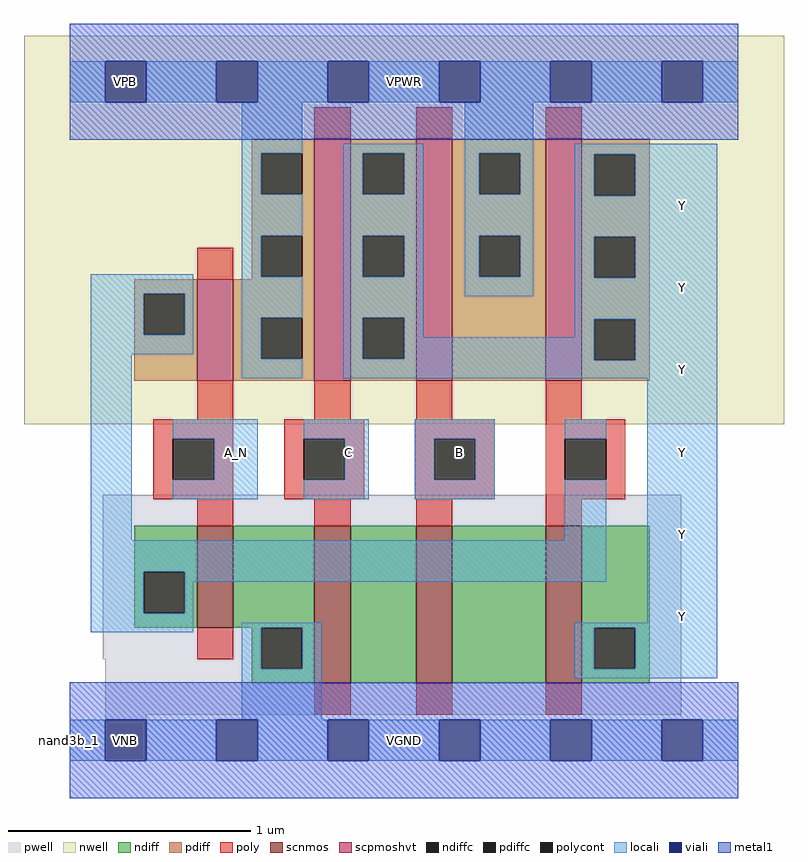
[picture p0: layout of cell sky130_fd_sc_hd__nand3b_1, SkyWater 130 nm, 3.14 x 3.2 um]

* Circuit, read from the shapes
.subckt sky130_fd_sc_hd__nand3b_1 A_N B C VGND VNB VPB VPWR Y
XM1 VGND A_N n1 VNB sky130_fd_pr__nfet_01v8 w=0.42 l=0.15
XM2 n2 C VGND VNB sky130_fd_pr__nfet_01v8 w=0.65 l=0.15
XM3 n3 B n2 VNB sky130_fd_pr__nfet_01v8 w=0.65 l=0.15
XM4 Y n1 n3 VNB sky130_fd_pr__nfet_01v8 w=0.65 l=0.15
XM5 VPWR A_N n1 VPB sky130_fd_pr__pfet_01v8_hvt w=0.42 l=0.15
XM6 Y C VPWR VPB sky130_fd_pr__pfet_01v8_hvt w=1 l=0.15
XM7 VPWR B Y VPB sky130_fd_pr__pfet_01v8_hvt w=1 l=0.15
XM8 Y n1 VPWR VPB sky130_fd_pr__pfet_01v8_hvt w=1 l=0.15
.ends

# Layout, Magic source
magic
tech sky130A
magscale 1 2
<< nwell >>
rect -38 261 590 582
<< pwell >>
rect 27 67 505 203
rect 29 21 505 67
rect 29 -17 63 21
<< scnmos >>
rect 105 93 135 177
rect 202 47 232 177
rect 286 47 316 177
rect 393 47 423 177
<< scpmoshvt >>
rect 105 297 135 381
rect 202 297 232 497
rect 286 297 316 497
rect 393 297 423 497
<< ndiff >>
rect 53 139 105 177
rect 53 105 61 139
rect 95 105 105 139
rect 53 93 105 105
rect 135 93 202 177
rect 150 59 158 93
rect 192 59 202 93
rect 150 47 202 59
rect 232 47 286 177
rect 316 47 393 177
rect 423 93 479 177
rect 423 59 433 93
rect 467 59 479 93
rect 423 47 479 59
<< pdiff >>
rect 150 485 202 497
rect 150 451 158 485
rect 192 451 202 485
rect 150 417 202 451
rect 150 383 158 417
rect 192 383 202 417
rect 150 381 202 383
rect 53 369 105 381
rect 53 335 61 369
rect 95 335 105 369
rect 53 297 105 335
rect 135 349 202 381
rect 135 315 158 349
rect 192 315 202 349
rect 135 297 202 315
rect 232 485 286 497
rect 232 451 242 485
rect 276 451 286 485
rect 232 417 286 451
rect 232 383 242 417
rect 276 383 286 417
rect 232 349 286 383
rect 232 315 242 349
rect 276 315 286 349
rect 232 297 286 315
rect 316 485 393 497
rect 316 451 338 485
rect 372 451 393 485
rect 316 417 393 451
rect 316 383 338 417
rect 372 383 393 417
rect 316 297 393 383
rect 423 484 479 497
rect 423 450 433 484
rect 467 450 479 484
rect 423 416 479 450
rect 423 382 433 416
rect 467 382 479 416
rect 423 348 479 382
rect 423 314 433 348
rect 467 314 479 348
rect 423 297 479 314
<< ndiffc >>
rect 61 105 95 139
rect 158 59 192 93
rect 433 59 467 93
<< pdiffc >>
rect 158 451 192 485
rect 158 383 192 417
rect 61 335 95 369
rect 158 315 192 349
rect 242 451 276 485
rect 242 383 276 417
rect 242 315 276 349
rect 338 451 372 485
rect 338 383 372 417
rect 433 450 467 484
rect 433 382 467 416
rect 433 314 467 348
<< poly >>
rect 202 497 232 523
rect 286 497 316 523
rect 393 497 423 523
rect 105 381 135 407
rect 105 265 135 297
rect 202 265 232 297
rect 286 265 316 297
rect 393 265 423 297
rect 69 249 135 265
rect 69 215 85 249
rect 119 215 135 249
rect 69 199 135 215
rect 177 249 243 265
rect 177 215 193 249
rect 227 215 243 249
rect 177 199 243 215
rect 285 249 351 265
rect 285 215 301 249
rect 335 215 351 249
rect 285 199 351 215
rect 393 249 459 265
rect 393 215 409 249
rect 443 215 459 249
rect 393 199 459 215
rect 105 177 135 199
rect 202 177 232 199
rect 286 177 316 199
rect 393 177 423 199
rect 105 67 135 93
rect 202 21 232 47
rect 286 21 316 47
rect 393 21 423 47
<< polycont >>
rect 85 215 119 249
rect 193 215 227 249
rect 301 215 335 249
rect 409 215 443 249
<< locali >>
rect 0 527 29 561
rect 63 527 121 561
rect 155 527 213 561
rect 247 527 305 561
rect 339 527 397 561
rect 431 527 489 561
rect 523 527 552 561
rect 142 485 192 527
rect 142 451 158 485
rect 142 417 192 451
rect 17 369 102 385
rect 17 335 61 369
rect 95 335 102 369
rect 17 319 102 335
rect 142 383 158 417
rect 142 349 192 383
rect 17 165 51 319
rect 142 315 158 349
rect 142 299 192 315
rect 226 485 292 493
rect 226 451 242 485
rect 276 451 292 485
rect 226 417 292 451
rect 226 383 242 417
rect 276 383 292 417
rect 226 349 292 383
rect 326 485 383 527
rect 326 451 338 485
rect 372 451 383 485
rect 326 417 383 451
rect 326 383 338 417
rect 372 383 383 417
rect 326 367 383 383
rect 417 484 535 493
rect 417 450 433 484
rect 467 450 535 484
rect 417 416 535 450
rect 417 382 433 416
rect 467 382 535 416
rect 226 315 242 349
rect 276 333 292 349
rect 417 348 535 382
rect 417 333 433 348
rect 276 315 433 333
rect 226 314 433 315
rect 467 314 535 348
rect 226 299 535 314
rect 85 249 155 265
rect 119 215 155 249
rect 85 199 155 215
rect 193 249 247 265
rect 227 215 247 249
rect 193 199 247 215
rect 285 249 351 265
rect 285 215 301 249
rect 335 215 351 249
rect 285 199 351 215
rect 409 249 443 265
rect 409 165 443 215
rect 17 139 443 165
rect 17 105 61 139
rect 95 131 443 139
rect 95 105 102 131
rect 17 89 102 105
rect 477 97 535 299
rect 142 93 208 97
rect 142 59 158 93
rect 192 59 208 93
rect 142 17 208 59
rect 417 93 535 97
rect 417 59 433 93
rect 467 59 535 93
rect 417 51 535 59
rect 0 -17 29 17
rect 63 -17 121 17
rect 155 -17 213 17
rect 247 -17 305 17
rect 339 -17 397 17
rect 431 -17 489 17
rect 523 -17 552 17
<< viali >>
rect 29 527 63 561
rect 121 527 155 561
rect 213 527 247 561
rect 305 527 339 561
rect 397 527 431 561
rect 489 527 523 561
rect 29 -17 63 17
rect 121 -17 155 17
rect 213 -17 247 17
rect 305 -17 339 17
rect 397 -17 431 17
rect 489 -17 523 17
<< metal1 >>
rect 0 561 552 592
rect 0 527 29 561
rect 63 527 121 561
rect 155 527 213 561
rect 247 527 305 561
rect 339 527 397 561
rect 431 527 489 561
rect 523 527 552 561
rect 0 496 552 527
rect 0 17 552 48
rect 0 -17 29 17
rect 63 -17 121 17
rect 155 -17 213 17
rect 247 -17 305 17
rect 339 -17 397 17
rect 431 -17 489 17
rect 523 -17 552 17
rect 0 -48 552 -17
<< labels >>
flabel locali s 305 221 339 255 0 FreeSans 250 0 0 0 B
port 2 nsew signal input
flabel locali s 213 221 247 255 0 FreeSans 250 0 0 0 C
port 3 nsew signal input
flabel locali s 121 221 155 255 0 FreeSans 250 0 0 0 A_N
port 1 nsew signal input
flabel locali s 489 85 523 119 0 FreeSans 250 0 0 0 Y
port 8 nsew signal output
flabel locali s 489 153 523 187 0 FreeSans 250 0 0 0 Y
port 8 nsew signal output
flabel locali s 489 221 523 255 0 FreeSans 250 0 0 0 Y
port 8 nsew signal output
flabel locali s 489 289 523 323 0 FreeSans 250 0 0 0 Y
port 8 nsew signal output
flabel locali s 489 357 523 391 0 FreeSans 250 0 0 0 Y
port 8 nsew signal output
flabel locali s 489 425 523 459 0 FreeSans 250 0 0 0 Y
port 8 nsew signal output
flabel nwell s 29 527 63 561 0 FreeSans 200 0 0 0 VPB
port 6 nsew power bidirectional
flabel pwell s 29 -17 63 17 0 FreeSans 200 0 0 0 VNB
port 5 nsew ground bidirectional
flabel metal1 s 29 -17 63 17 0 FreeSans 200 0 0 0 VGND
port 4 nsew ground bidirectional abutment
flabel metal1 s 29 527 63 561 0 FreeSans 200 0 0 0 VPWR
port 7 nsew power bidirectional abutment
rlabel comment s 0 0 0 0 4 nand3b_1
rlabel metal1 s 0 -48 552 48 1 VGND
port 4 nsew ground bidirectional abutment
rlabel metal1 s 0 496 552 592 1 VPWR
port 7 nsew power bidirectional abutment
<< properties >>
string FIXED_BBOX 0 0 552 544
string GDS_END 1843946
string GDS_FILE $PDKPATH/libs.ref/sky130_fd_sc_hd/gds/sky130_fd_sc_hd.gds
string GDS_START 1838412
string LEFclass CORE
string LEFsite unithd
string LEFsymmetry X Y R90
string path 0.000 0.000 13.800 0.000 
<< end >>
